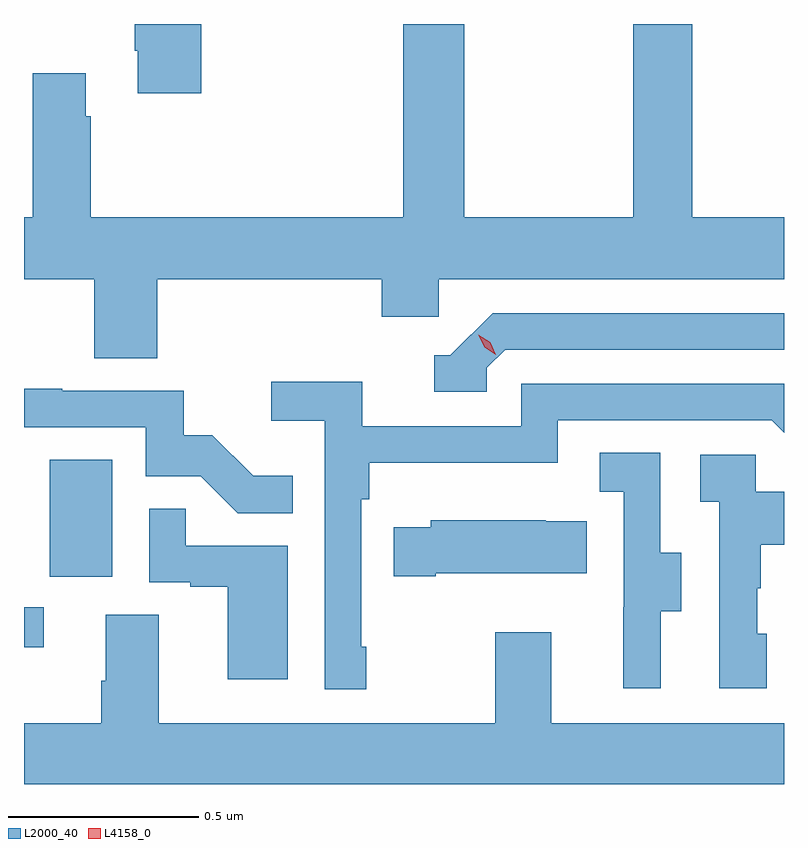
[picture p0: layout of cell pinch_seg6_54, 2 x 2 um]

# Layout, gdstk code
import gdstk
lib = gdstk.Library(unit=1e-6, precision=1e-09)
def R(c, l, rs):  # rectangles x0, y0, x1, y1
    for r in rs: c.add(gdstk.rectangle(r[:2], r[2:], *l))
def P(c, l, *ps):  # polygons
    for p in ps: c.add(gdstk.Polygon(p, *l))
L2000_40 = (2000, 40)
L4158_0 = (4158, 0)

pinch_seg6_54 = lib.new_cell('pinch_seg6_54')
R(pinch_seg6_54, L2000_40, [(975.774,939.708,975.826,939.813), (975.842,939.894,976.006,940.201)])
P(pinch_seg6_54, L2000_40, [(976.124,940.676),(976.715,940.676),(976.715,940.578),(976.866,940.578),(976.866,940.676),(977.774,940.676),(977.774,940.84),(977.532,940.84),(977.532,941.348),(977.377,941.348),(977.377,940.84),(976.932,940.84),(976.932,941.348),(976.772,941.348),(976.772,940.84),(975.95,940.84),(975.95,941.105),(975.937,941.105),(975.937,941.218),(975.797,941.218),(975.797,940.84),(975.774,940.84),(975.774,940.676),(975.959,940.676),(975.959,940.468),(976.124,940.468)],
  [(976.241,941.348),(976.066,941.348),(976.066,941.278),(976.073,941.278),(976.073,941.166),(976.241,941.166)],
  [(976.992,940.443),(977.04,940.491),(977.774,940.491),(977.774,940.587),(977.007,940.587),(976.896,940.476),(976.853,940.476),(976.853,940.38),(976.992,940.38)],
  [(976.675,939.709),(976.662,939.709),(976.662,940.097),(976.682,940.097),(976.682,940.193),(977.178,940.193),(977.178,940.305),(977.742,940.305),(977.774,940.273),(977.774,940.401),(977.082,940.401),(977.082,940.29),(976.664,940.29),(976.664,940.406),(976.425,940.406),(976.425,940.304),(976.566,940.304),(976.566,939.597),(976.675,939.597)],
  [(976.481,940.159),(976.377,940.159),(976.27,940.266),(976.194,940.266),(976.194,940.383),(975.875,940.383),(975.875,940.388),(975.774,940.388),(975.774,940.287),(976.095,940.287),(976.095,940.158),(976.239,940.158),(976.337,940.06),(976.481,940.06)],
  [(977.449,939.802),(977.503,939.802),(977.503,939.957),(977.448,939.957),(977.448,940.22),(977.289,940.22),(977.289,940.117),(977.352,940.117),(977.352,939.813),(977.351,939.813),(977.351,939.6),(977.449,939.6)],
  [(977.728,939.744),(977.703,939.744),(977.703,939.863),(977.713,939.863),(977.713,939.977),(977.774,939.977),(977.774,940.117),(977.7,940.117),(977.7,940.215),(977.553,940.215),(977.553,940.091),(977.604,940.091),(977.604,939.6),(977.728,939.6)],
  [(976.468,939.975),(976.199,939.975),(976.199,940.073),(976.104,940.073),(976.104,939.879),(976.211,939.879),(976.211,939.867),(976.31,939.867),(976.31,939.624),(976.468,939.624)],
  [(976.858,939.902),(977.255,939.902),(977.255,940.039),(977.147,940.039),(977.147,940.042),(976.845,940.042),(976.845,940.024),(976.747,940.024),(976.747,939.895),(976.858,939.895)],
  [(977.774,939.508),(977.161,939.508),(977.161,939.748),(977.014,939.748),(977.014,939.508),(976.129,939.508),(976.129,939.794),(975.989,939.794),(975.989,939.62),(975.977,939.62),(975.977,939.508),(975.774,939.508),(975.774,939.348),(977.774,939.348)])
P(pinch_seg6_54, L4158_0, [(977.016,940.478),(976.986,940.497),(976.97,940.53),(976.97,940.53),(976.97,940.53),(977.001,940.51),(977.016,940.478),(977.016,940.478)])

lib.write_gds('pinch_seg6_54.gds')
